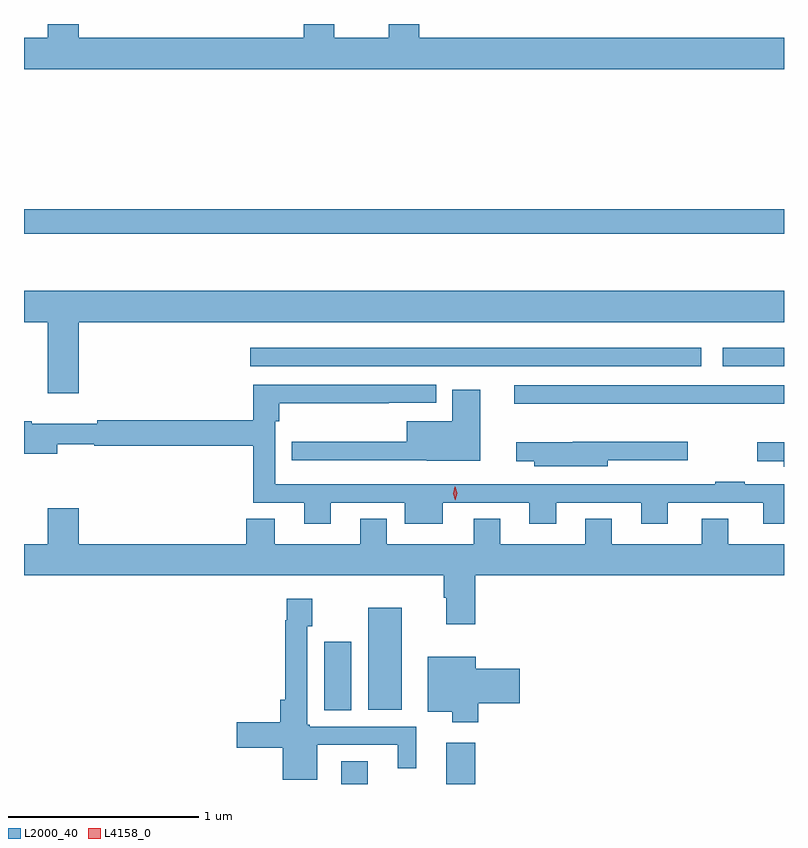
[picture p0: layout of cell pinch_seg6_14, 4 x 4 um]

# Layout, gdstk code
import gdstk
lib = gdstk.Library(unit=1e-6, precision=1e-09)
def R(c, l, rs):  # rectangles x0, y0, x1, y1
    for r in rs: c.add(gdstk.rectangle(r[:2], r[2:], *l))
def P(c, l, *ps):  # polygons
    for p in ps: c.add(gdstk.Polygon(p, *l))
L2000_40 = (2000, 40)
L4158_0 = (4158, 0)

pinch_seg6_14 = lib.new_cell('pinch_seg6_14')
R(pinch_seg6_14, L2000_40, [(921.797,991.525,921.937,991.646), (922.349,991.525,922.502,991.741), (921.707,991.912,921.85,992.275), (921.938,991.916,922.114,992.452), (922.707,993.527,924.127,993.624), (921.318,993.723,923.692,993.82), (923.805,993.723,924.127,993.82), (920.127,994.422,924.127,994.55)])
P(pinch_seg6_14, L2000_40, [(924.127,995.452),(922.208,995.452),(922.208,995.525),(922.048,995.525),(922.048,995.452),(921.759,995.452),(921.759,995.525),(921.599,995.525),(921.599,995.452),(920.416,995.452),(920.416,995.525),(920.252,995.525),(920.252,995.452),(920.127,995.452),(920.127,995.288),(924.127,995.288)],
  [(920.416,993.956),(924.127,993.956),(924.127,994.12),(920.127,994.12),(920.127,993.956),(920.252,993.956),(920.252,993.582),(920.416,993.582)],
  [(921.742,993.006),(922.13,993.006),(922.13,992.894),(922.33,992.894),(922.33,993.006),(922.787,993.006),(922.787,992.894),(922.927,992.894),(922.927,993.006),(923.375,993.006),(923.375,992.894),(923.515,992.894),(923.515,993.006),(924.017,993.006),(924.017,992.894),(924.127,992.894),(924.127,993.102),(923.921,993.102),(923.921,993.115),(923.766,993.115),(923.766,993.102),(921.45,993.102),(921.45,993.434),(921.47,993.434),(921.47,993.53),(922.046,993.53),(922.046,993.531),(922.297,993.531),(922.297,993.627),(921.334,993.627),(921.334,993.44),(920.512,993.44),(920.512,993.421),(920.167,993.421),(920.167,993.434),(920.127,993.434),(920.127,993.262),(920.302,993.262),(920.302,993.312),(920.498,993.312),(920.498,993.304),(921.334,993.304),(921.334,993.006),(921.602,993.006),(921.602,992.894),(921.742,992.894)],
  [(922.528,993.601),(922.382,993.601),(922.382,993.433),(922.142,993.433),(922.142,993.326),(921.535,993.326),(921.535,993.229),(921.646,993.229),(921.646,993.228),(922.246,993.228),(922.246,993.227),(922.528,993.227)],
  [(923.2,993.228),(923.62,993.228),(923.62,993.326),(923.016,993.326),(923.016,993.325),(922.719,993.325),(922.719,993.224),(922.812,993.224),(922.812,993.197),(923.2,993.197)],
  [(924.127,993.325),(923.985,993.325),(923.985,993.224),(924.125,993.224),(924.125,993.194),(924.127,993.194)],
  [(923.693,992.921),(923.693,992.788),(923.221,992.788),(923.221,992.921),(923.081,992.921),(923.081,992.788),(922.633,992.788),(922.633,992.921),(922.493,992.921),(922.493,992.788),(922.036,992.788),(922.036,992.921),(921.896,992.921),(921.896,992.788),(921.448,992.788),(921.448,992.921),(921.296,992.921),(921.296,992.788),(920.416,992.788),(920.416,992.977),(920.252,992.977),(920.252,992.788),(920.127,992.788),(920.127,992.624),(922.337,992.624),(922.337,992.504),(922.349,992.504),(922.349,992.367),(922.502,992.367),(922.502,992.624),(924.127,992.624),(924.127,992.788),(923.833,992.788),(923.833,992.921)],
  [(921.67,991.731),(922.094,991.731),(922.094,991.608),(922.192,991.608),(922.192,991.827),(921.63,991.827),(921.63,991.837),(921.618,991.837),(921.618,992.355),(921.645,992.355),(921.645,992.5),(921.51,992.5),(921.51,992.387),(921.502,992.387),(921.502,991.969),(921.476,991.969),(921.476,991.85),(921.246,991.85),(921.246,991.715),(921.488,991.715),(921.488,991.547),(921.67,991.547)],
  [(922.517,991.949),(922.735,991.949),(922.735,992.132),(922.504,992.132),(922.504,992.194),(922.253,992.194),(922.253,991.904),(922.382,991.904),(922.382,991.85),(922.517,991.85)])
P(pinch_seg6_14, L4158_0, [(922.398,993.019),(922.398,993.019),(922.387,993.053),(922.395,993.089),(922.396,993.089),(922.396,993.089),(922.407,993.054),(922.398,993.019)])

lib.write_gds('pinch_seg6_14.gds')
